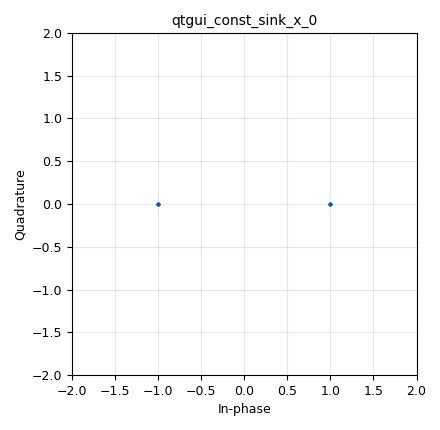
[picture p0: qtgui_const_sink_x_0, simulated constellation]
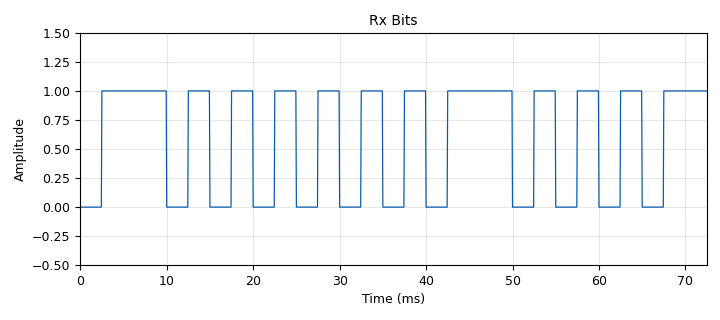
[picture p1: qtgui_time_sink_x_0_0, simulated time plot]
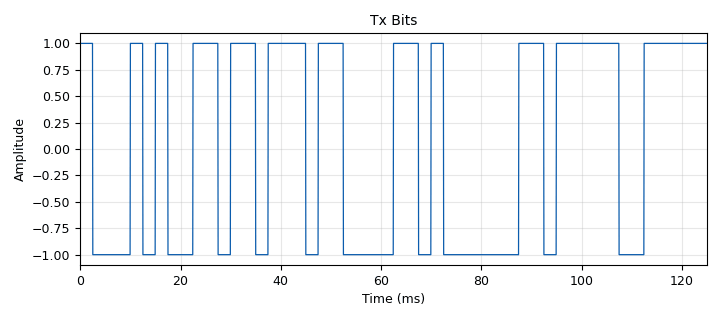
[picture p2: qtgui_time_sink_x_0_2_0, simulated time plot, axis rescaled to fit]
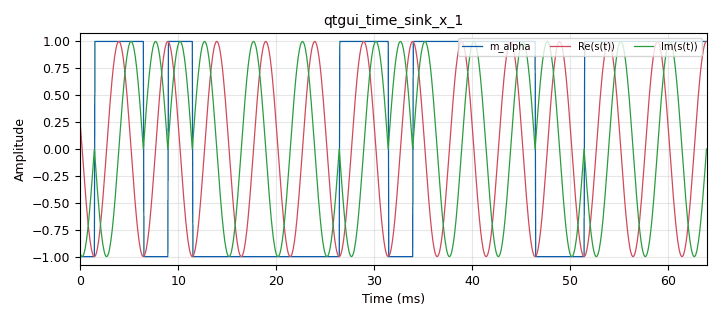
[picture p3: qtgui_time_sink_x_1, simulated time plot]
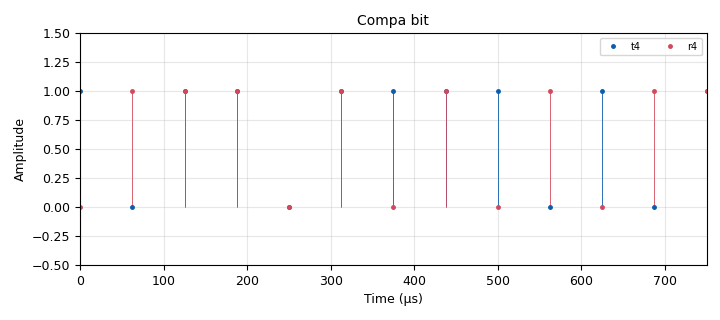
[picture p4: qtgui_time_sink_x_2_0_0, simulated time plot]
options:
  parameters:
    author: clsor
    generate_options: qt_gui
    id: BFSKloopback_NONcoherent
    output_language: python
    title: BFSKloopback_NONcoherent
  states: {}

blocks:
- name: M
  id: variable
  parameters:
    value: '2'
  states: {}
- name: Pn
  id: variable_qtgui_range
  parameters:
    gui_hint: 2,0,1,1
    label: Potentiel of the noise
    start: '0'
    step: 1/100
    stop: '1'
    value: '0'
  states: {state: disabled}
- name: Rb
  id: variable
  parameters:
    value: '400'
  states: {}
- name: Rs
  id: variable
  parameters:
    value: Rb/bps
  states: {}
- name: Sps
  id: variable
  parameters:
    value: '40'
  states: {}
- name: T
  id: variable
  parameters:
    value: 1/symbol_rate
  states: {}
- name: bps
  id: variable
  parameters:
    value: int(math.log(M,2))
  states: {}
- name: bw
  id: variable
  parameters:
    value: (2**m)*Rb/m
  states: {}
- name: center_freq
  id: variable
  parameters:
    value: '100000'
  states: {}
- name: eb_n0_dB
  id: variable
  parameters:
    value: '10'
  states: {}
- name: fsk_deviation
  id: variable
  parameters:
    value: symbol_rate/2
  states: {}
- name: m
  id: variable
  parameters:
    value: '1'
  states: {}
- name: ndisp
  id: variable
  parameters:
    value: '2000'
  states: {}
- name: num_samples
  id: variable
  parameters:
    value: '1000'
  states: {}
- name: samp_rate
  id: variable
  parameters:
    value: Sps*Rb
  states: {}
- name: sig_power
  id: variable
  parameters:
    value: '1'
  states: {}
- name: symbol_rate
  id: variable
  parameters:
    value: samp_rate/Sps
  states: {}
- name: analog_const_source_x_0
  id: analog_const_source_x
  parameters:
    const: '1'
    type: float
  states: {state: disabled}
- name: analog_frequency_modulator_fc_0
  id: analog_frequency_modulator_fc
  parameters:
    sensitivity: (2*math.pi*fsk_deviation)/samp_rate
  states: {}
- name: analog_noise_source_x_0
  id: analog_noise_source_x
  parameters:
    amp: math.sqrt( sig_power/ (10**(eb_n0_dB/10)) * samp_rate/symbol_rate )
    noise_type: analog.GR_GAUSSIAN
    seed: '0'
    type: complex
  states: {}
- name: analog_quadrature_demod_cf_0
  id: analog_quadrature_demod_cf
  parameters:
    gain: '10'
  states: {state: disabled}
- name: analog_random_source_x_0
  id: analog_random_source_x
  parameters:
    comment: Bits Generation
    max: '2'
    min: '0'
    num_samps: num_samples
    repeat: 'False'
    type: byte
  states: {}
- name: analog_sig_source_x_0
  id: analog_sig_source_x
  parameters:
    amp: '1'
    freq: center_freq+fsk_deviation
    offset: '0'
    phase: '0'
    samp_rate: samp_rate
    type: float
    waveform: analog.GR_COS_WAVE
  states: {state: disabled}
- name: analog_sig_source_x_0_0
  id: analog_sig_source_x
  parameters:
    amp: '1'
    freq: center_freq-fsk_deviation
    offset: '0'
    phase: '0'
    samp_rate: samp_rate
    type: float
    waveform: analog.GR_COS_WAVE
  states: {state: disabled}
- name: analog_sig_source_x_0_0_0
  id: analog_sig_source_x
  parameters:
    amp: math.sqrt(2/T)
    freq: center_freq-fsk_deviation
    offset: '0'
    phase: '0'
    samp_rate: samp_rate
    type: complex
    waveform: analog.GR_COS_WAVE
  states: {}
- name: analog_sig_source_x_0_1
  id: analog_sig_source_x
  parameters:
    amp: math.sqrt(2/T)
    freq: center_freq+fsk_deviation
    offset: '0'
    phase: '0'
    samp_rate: samp_rate
    type: complex
    waveform: analog.GR_COS_WAVE
  states: {}
- name: blocks_add_const_vxx_0
  id: blocks_add_const_vxx
  parameters:
    const: '-1'
    type: float
  states: {}
- name: blocks_add_xx_1
  id: blocks_add_xx
  parameters:
    type: complex
  states: {}
- name: blocks_char_to_float_0
  id: blocks_char_to_float
  parameters:
    scale: '0.5'
  states: {}
- name: blocks_char_to_float_0_0_1
  id: blocks_char_to_float
  parameters:
    scale: '1'
  states: {state: disabled}
- name: blocks_char_to_float_0_1
  id: blocks_char_to_float
  parameters:
    scale: '1'
  states: {state: disabled}
- name: blocks_char_to_float_0_1_1
  id: blocks_char_to_float
  parameters:
    scale: '1'
  states: {}
- name: blocks_char_to_float_0_1_1_0
  id: blocks_char_to_float
  parameters:
    scale: '1'
  states: {}
- name: blocks_char_to_float_0_2
  id: blocks_char_to_float
  parameters:
    scale: '1'
  states: {state: disabled}
- name: blocks_char_to_float_0_2_0
  id: blocks_char_to_float
  parameters:
    scale: '1'
  states: {}
- name: blocks_complex_to_float_0
  id: blocks_complex_to_float
  parameters: {}
  states: {}
- name: blocks_complex_to_float_1
  id: blocks_complex_to_float
  parameters: {}
  states: {state: disabled}
- name: blocks_complex_to_mag_squared_0
  id: blocks_complex_to_mag_squared
  parameters: {}
  states: {}
- name: blocks_complex_to_mag_squared_0_0
  id: blocks_complex_to_mag_squared
  parameters: {}
  states: {}
- name: blocks_delay_1_0_0_0
  id: blocks_delay
  parameters:
    delay: '2'
    type: byte
  states: {state: disabled}
- name: blocks_delay_1_0_0_0_0
  id: blocks_delay
  parameters:
    delay: '0'
    type: byte
  states: {}
- name: blocks_float_to_complex_0
  id: blocks_float_to_complex
  parameters: {}
  states: {}
- name: blocks_keep_one_in_n_0
  id: blocks_keep_one_in_n
  parameters:
    n: Sps
    type: float
  states: {state: disabled}
- name: blocks_moving_average_xx_0
  id: blocks_moving_average_xx
  parameters:
    length: '1000'
    max_iter: '4000'
    scale: '1'
    type: complex
  states: {}
- name: blocks_moving_average_xx_0_0
  id: blocks_moving_average_xx
  parameters:
    length: '1000'
    max_iter: '4000'
    scale: '1'
    type: complex
  states: {}
- name: blocks_multiply_xx_0
  id: blocks_multiply_xx
  parameters:
    type: float
  states: {state: disabled}
- name: blocks_multiply_xx_0_0
  id: blocks_multiply_xx
  parameters:
    type: float
  states: {state: disabled}
- name: blocks_multiply_xx_0_0_0
  id: blocks_multiply_xx
  parameters:
    type: complex
  states: {}
- name: blocks_multiply_xx_0_1
  id: blocks_multiply_xx
  parameters:
    type: complex
  states: {}
- name: blocks_null_sink_0
  id: blocks_null_sink
  parameters:
    type: complex
  states: {state: disabled}
- name: blocks_pack_k_bits_bb_0
  id: blocks_pack_k_bits_bb
  parameters:
    k: '8'
  states: {}
- name: blocks_pack_k_bits_bb_1
  id: blocks_pack_k_bits_bb
  parameters:
    k: '8'
  states: {}
- name: blocks_repeat_0
  id: blocks_repeat
  parameters:
    interp: Sps
    type: float
  states: {}
- name: blocks_repeat_0_0
  id: blocks_repeat
  parameters:
    interp: Sps
    type: byte
  states: {state: disabled}
- name: blocks_repeat_0_0_0
  id: blocks_repeat
  parameters:
    interp: Sps
    type: byte
  states: {}
- name: blocks_skiphead_0
  id: blocks_skiphead
  parameters:
    num_items: '16'
    type: byte
  states: {state: disabled}
- name: blocks_skiphead_0_0
  id: blocks_skiphead
  parameters:
    num_items: '16'
    type: byte
  states: {state: disabled}
- name: blocks_skiphead_0_1
  id: blocks_skiphead
  parameters:
    num_items: '16'
    type: byte
  states: {}
- name: blocks_skiphead_0_1_0
  id: blocks_skiphead
  parameters:
    num_items: '16'
    type: byte
  states: {}
- name: blocks_skiphead_0_1_1
  id: blocks_skiphead
  parameters:
    num_items: '16'
    type: byte
  states: {}
- name: blocks_stream_mux_1
  id: blocks_stream_mux
  parameters:
    lengths: '[16,num_samples]'
    type: byte
  states: {}
- name: blocks_sub_xx_0
  id: blocks_sub_xx
  parameters:
    type: float
  states: {state: disabled}
- name: blocks_sub_xx_1
  id: blocks_sub_xx
  parameters:
    type: float
  states: {}
- name: blocks_throttle2_0
  id: blocks_throttle2
  parameters:
    samples_per_second: samp_rate
    type: complex
  states: {}
- name: blocks_vector_source_x_0
  id: blocks_vector_source_x
  parameters:
    repeat: 'False'
    type: byte
    vector: (1,0, 1, 0, 1, 0, 1, 0, 1,0 ,1,0,  1,0, 1,0)
  states: {}
- name: digital_binary_slicer_fb_0
  id: digital_binary_slicer_fb
  parameters: {}
  states: {state: disabled}
- name: digital_binary_slicer_fb_1
  id: digital_binary_slicer_fb
  parameters: {}
  states: {}
- name: digital_clock_recovery_mm_xx_0_0
  id: digital_clock_recovery_mm_xx
  parameters:
    gain_mu: '0.1'
    gain_omega: '0.01'
    mu: '0.5'
    omega: Sps*(1+0.0)
    omega_relative_limit: '0.05'
    type: float
  states: {state: disabled}
- name: digital_clock_recovery_mm_xx_0_0_0
  id: digital_clock_recovery_mm_xx
  parameters:
    gain_mu: '0.1'
    gain_omega: '0.1'
    mu: '0.5'
    omega: Sps*(1+0.0)
    omega_relative_limit: '0.1'
    type: float
  states: {}
- name: epy_block_0
  id: epy_block
  parameters:
    _source_code: |
      import numpy as np
      from gnuradio import gr

      class inversedB(gr.sync_block):  

          def __init__(self, ): 
              gr.sync_block.__init__(
                  self,
                  name='e_inversedB_ff',
                  in_sig=[np.float32],
                  out_sig=[np.float32]
              )

          def work(self, input_items, output_items):
              x=input_items[0]
              y=output_items[0]
              y[:]=np.power(10,x)
              return len(y)
  states: {state: disabled}
- name: fec_ber_bf_0
  id: fec_ber_bf
  parameters:
    test_mode: 'False'
  states: {state: disabled}
- name: fec_ber_bf_1
  id: fec_ber_bf
  parameters:
    test_mode: 'False'
  states: {}
- name: freq_xlating_fir_filter_xxx_0
  id: freq_xlating_fir_filter_xxx
  parameters:
    center_freq: center_freq
    decim: '1'
    samp_rate: samp_rate
    taps: firdes.low_pass(1.0,samp_rate,900,300)
    type: fcf
  states: {state: disabled}
- name: import_0
  id: import
  parameters:
    imports: import math
  states: {}
- name: qtgui_const_sink_x_0
  id: qtgui_const_sink_x
  parameters:
    size: '32'
    type: complex
  states: {}
- name: qtgui_number_sink_0
  id: qtgui_number_sink
  parameters:
    graph_type: qtgui.NUM_GRAPH_HORIZ
    name: BER between Tx and Rx
    type: float
  states: {state: disabled}
- name: qtgui_number_sink_1
  id: qtgui_number_sink
  parameters:
    graph_type: qtgui.NUM_GRAPH_HORIZ
    type: float
  states: {}
- name: qtgui_time_sink_x_0
  id: qtgui_time_sink_x
  parameters:
    grid: 'True'
    legend: 'False'
    name: Rx Bits
    size: ndisp
    srate: samp_rate
    type: float
    ymax: '1.5'
    ymin: '-0.5'
  states: {state: disabled}
- name: qtgui_time_sink_x_0_0
  id: qtgui_time_sink_x
  parameters:
    grid: 'True'
    legend: 'False'
    name: Rx Bits
    size: ndisp
    srate: samp_rate
    type: float
    ymax: '1.5'
    ymin: '-0.5'
  states: {}
- name: qtgui_time_sink_x_0_2
  id: qtgui_time_sink_x
  parameters:
    grid: 'True'
    legend: 'False'
    name: Tx Bits
    size: ndisp
    srate: samp_rate
    type: float
    ymax: '1.5'
    ymin: '-0.5'
  states: {state: disabled}
- name: qtgui_time_sink_x_0_2_0
  id: qtgui_time_sink_x
  parameters:
    grid: 'True'
    legend: 'False'
    name: Tx Bits
    size: ndisp
    srate: samp_rate
    type: float
    ymax: '1.5'
    ymin: '-0.5'
  states: {}
- name: qtgui_time_sink_x_1
  id: qtgui_time_sink_x
  parameters:
    label1: m_alpha
    label2: Re(s(t))
    label3: Im(s(t))
    nconnections: '3'
    size: '1024'
    srate: samp_rate
    type: float
  states: {}
- name: qtgui_time_sink_x_2_0
  id: qtgui_time_sink_x
  parameters:
    label1: t4
    label2: r4
    marker1: '0'
    marker2: '0'
    name: Compa bit
    nconnections: '2'
    size: 32*bps
    srate: samp_rate
    stemplot: 'True'
    type: float
    width1: '3'
    width2: '3'
    ymax: '1.5'
    ymin: '-0.5'
  states: {state: disabled}
- name: qtgui_time_sink_x_2_0_0
  id: qtgui_time_sink_x
  parameters:
    label1: t4
    label2: r4
    marker1: '0'
    marker2: '0'
    name: Compa bit
    nconnections: '2'
    size: 32*bps
    srate: samp_rate
    stemplot: 'True'
    type: float
    width1: '3'
    width2: '3'
    ymax: '1.5'
    ymin: '-0.5'
  states: {}
- name: virtual_sink_0
  id: virtual_sink
  parameters:
    stream_id: BFSK_tx
  states: {state: disabled}
- name: virtual_sink_0_0_0_0_0_0_0
  id: virtual_sink
  parameters:
    stream_id: r
  states: {state: disabled}
- name: virtual_sink_0_0_0_1_0
  id: virtual_sink
  parameters:
    stream_id: t
  states: {state: disabled}
- name: virtual_source_0
  id: virtual_source
  parameters:
    stream_id: BFSK_tx
  states: {state: disabled}
- name: virtual_source_0_0_0_0_0_0_0
  id: virtual_source
  parameters:
    stream_id: r
  states: {state: disabled}
- name: virtual_source_0_0_0_0_1
  id: virtual_source
  parameters:
    stream_id: t
  states: {state: disabled}

connections:
- [analog_const_source_x_0, '0', blocks_sub_xx_0, '0']
- [analog_frequency_modulator_fc_0, '0', blocks_add_xx_1, '0']
- [analog_frequency_modulator_fc_0, '0', blocks_complex_to_float_0, '0']
- [analog_noise_source_x_0, '0', blocks_throttle2_0, '0']
- [analog_quadrature_demod_cf_0, '0', digital_clock_recovery_mm_xx_0_0, '0']
- [analog_random_source_x_0, '0', blocks_pack_k_bits_bb_0, '0']
- [analog_random_source_x_0, '0', blocks_stream_mux_1, '1']
- [analog_sig_source_x_0_0_0, '0', blocks_multiply_xx_0_0_0, '1']
- [analog_sig_source_x_0_1, '0', blocks_multiply_xx_0_1, '0']
- [blocks_add_const_vxx_0, '0', blocks_float_to_complex_0, '0']
- [blocks_add_const_vxx_0, '0', blocks_repeat_0, '0']
- [blocks_add_xx_1, '0', blocks_complex_to_float_1, '0']
- [blocks_add_xx_1, '0', blocks_multiply_xx_0_0_0, '0']
- [blocks_add_xx_1, '0', blocks_multiply_xx_0_1, '1']
- [blocks_add_xx_1, '0', blocks_null_sink_0, '0']
- [blocks_add_xx_1, '0', virtual_sink_0, '0']
- [blocks_char_to_float_0, '0', blocks_add_const_vxx_0, '0']
- [blocks_char_to_float_0_0_1, '0', qtgui_time_sink_x_2_0, '1']
- [blocks_char_to_float_0_1, '0', qtgui_time_sink_x_2_0, '0']
- [blocks_char_to_float_0_1_1, '0', qtgui_time_sink_x_2_0_0, '0']
- [blocks_char_to_float_0_1_1_0, '0', qtgui_time_sink_x_2_0_0, '1']
- [blocks_char_to_float_0_2, '0', qtgui_time_sink_x_0, '0']
- [blocks_char_to_float_0_2_0, '0', qtgui_time_sink_x_0_0, '0']
- [blocks_complex_to_float_0, '0', qtgui_time_sink_x_1, '1']
- [blocks_complex_to_float_0, '1', qtgui_time_sink_x_1, '2']
- [blocks_complex_to_mag_squared_0, '0', blocks_sub_xx_1, '0']
- [blocks_complex_to_mag_squared_0_0, '0', blocks_sub_xx_1, '1']
- [blocks_delay_1_0_0_0, '0', blocks_skiphead_0, '0']
- [blocks_delay_1_0_0_0_0, '0', blocks_skiphead_0_1_1, '0']
- [blocks_float_to_complex_0, '0', qtgui_const_sink_x_0, '0']
- [blocks_keep_one_in_n_0, '0', digital_binary_slicer_fb_1, '0']
- [blocks_moving_average_xx_0, '0', blocks_complex_to_mag_squared_0, '0']
- [blocks_moving_average_xx_0_0, '0', blocks_complex_to_mag_squared_0_0, '0']
- [blocks_multiply_xx_0_0_0, '0', blocks_moving_average_xx_0_0, '0']
- [blocks_multiply_xx_0_1, '0', blocks_moving_average_xx_0, '0']
- [blocks_pack_k_bits_bb_0, '0', fec_ber_bf_1, '0']
- [blocks_pack_k_bits_bb_0, '0', virtual_sink_0_0_0_1_0, '0']
- [blocks_pack_k_bits_bb_1, '0', fec_ber_bf_1, '1']
- [blocks_repeat_0, '0', analog_frequency_modulator_fc_0, '0']
- [blocks_repeat_0, '0', qtgui_time_sink_x_0_2_0, '0']
- [blocks_repeat_0, '0', qtgui_time_sink_x_1, '0']
- [blocks_repeat_0_0, '0', blocks_char_to_float_0_2, '0']
- [blocks_repeat_0_0_0, '0', blocks_char_to_float_0_2_0, '0']
- [blocks_skiphead_0, '0', blocks_char_to_float_0_1, '0']
- [blocks_skiphead_0, '0', fec_ber_bf_0, '0']
- [blocks_skiphead_0_0, '0', blocks_char_to_float_0_0_1, '0']
- [blocks_skiphead_0_0, '0', fec_ber_bf_0, '1']
- [blocks_skiphead_0_1, '0', blocks_pack_k_bits_bb_1, '0']
- [blocks_skiphead_0_1_0, '0', blocks_char_to_float_0_1_1, '0']
- [blocks_skiphead_0_1_1, '0', blocks_char_to_float_0_1_1_0, '0']
- [blocks_stream_mux_1, '0', blocks_char_to_float_0, '0']
- [blocks_stream_mux_1, '0', blocks_skiphead_0_1_0, '0']
- [blocks_sub_xx_1, '0', blocks_keep_one_in_n_0, '0']
- [blocks_sub_xx_1, '0', digital_clock_recovery_mm_xx_0_0_0, '0']
- [blocks_throttle2_0, '0', blocks_add_xx_1, '1']
- [blocks_vector_source_x_0, '0', blocks_stream_mux_1, '0']
- [digital_binary_slicer_fb_0, '0', blocks_repeat_0_0, '0']
- [digital_binary_slicer_fb_0, '0', virtual_sink_0_0_0_0_0_0_0, '0']
- [digital_binary_slicer_fb_1, '0', blocks_delay_1_0_0_0_0, '0']
- [digital_binary_slicer_fb_1, '0', blocks_repeat_0_0_0, '0']
- [digital_binary_slicer_fb_1, '0', blocks_skiphead_0_1, '0']
- [digital_clock_recovery_mm_xx_0_0, '0', digital_binary_slicer_fb_0, '0']
- [digital_clock_recovery_mm_xx_0_0_0, '0', digital_binary_slicer_fb_1, '0']
- [epy_block_0, '0', qtgui_number_sink_0, '0']
- [fec_ber_bf_0, '0', epy_block_0, '0']
- [fec_ber_bf_1, '0', qtgui_number_sink_1, '0']
- [freq_xlating_fir_filter_xxx_0, '0', analog_quadrature_demod_cf_0, '0']
- [virtual_source_0, '0', blocks_multiply_xx_0_0_0, '0']
- [virtual_source_0, '0', blocks_multiply_xx_0_1, '1']
- [virtual_source_0_0_0_0_0_0_0, '0', blocks_skiphead_0_0, '0']
- [virtual_source_0_0_0_0_1, '0', blocks_delay_1_0_0_0, '0']

metadata:
  file_format: 1
  grc_version: 3.10.10.0
